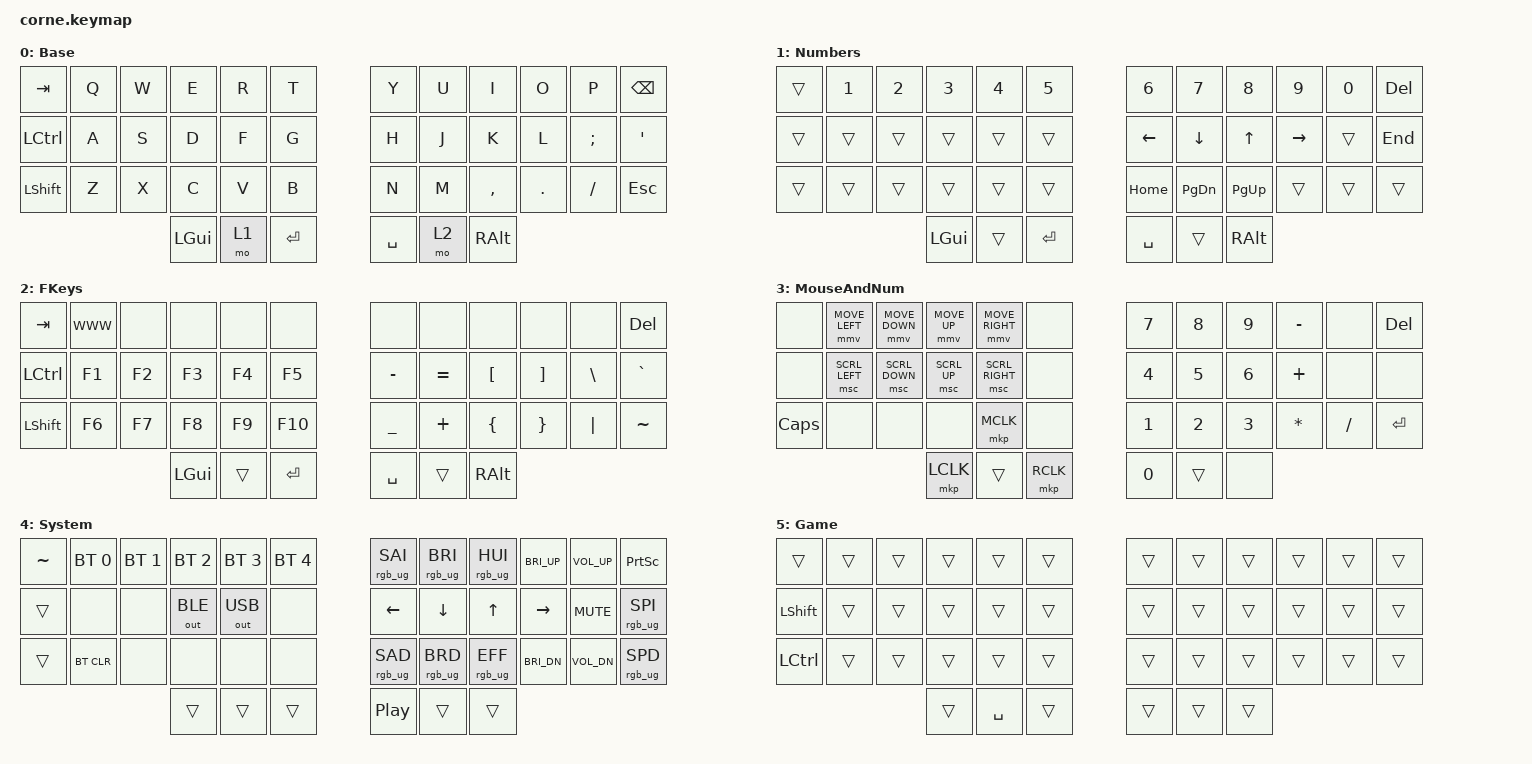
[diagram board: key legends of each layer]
/*
 * PandaKB Corne V3 MX starter keymap
 * Based on the owner's known-good Corne layout.
 * SPDX-License-Identifier: MIT
 */

#include <behaviors.dtsi>
#include <dt-bindings/zmk/keys.h>
#include <dt-bindings/zmk/bt.h>
#include <dt-bindings/zmk/ext_power.h>
#include <dt-bindings/zmk/rgb.h>
#include <dt-bindings/zmk/pointing.h>
#include <dt-bindings/zmk/outputs.h>

/* PandaKB QMK definition identifies 54 LEDs split 27/27.
 * ZMK chain-length is specified per half on a split keyboard.
 */
&led_strip {
    chain-length = <27>;
};

/ {
    // ВАЖНО: Эта строка связывает led_strip с системой RGB в ZMK
    chosen {
        zmk,underglow = &led_strip;
    };

    conditional_layers {
    compatible = "zmk,conditional-layers";

        adjust_layer {
            if-layers = <1 2>;
            then-layer = <3>;
        };
    };

    combos {
        compatible = "zmk,combos";

        L_Paren {
            timeout-ms = <50>;
            key-positions = <4 5>;
            layers = <0>;
            bindings = <&kp LPAR>;
        };

        R_Paren {
            timeout-ms = <50>;
            key-positions = <6 7>;
            layers = <0>;
            bindings = <&kp RPAR>;
        };

        L_Bracket {
            timeout-ms = <50>;
            key-positions = <16 17>;
            layers = <0>;
            bindings = <&kp LBKT>;
        };

        R_Bracket {
            timeout-ms = <50>;
            key-positions = <18 19>;
            layers = <0>;
            bindings = <&kp RBKT>;
        };

        L_Brace {
            timeout-ms = <50>;
            key-positions = <28 29>;
            layers = <0>;
            bindings = <&kp LBRC>;
        };

        R_Brace {
            timeout-ms = <50>;
            key-positions = <30 31>;
            layers = <0>;
            bindings = <&kp RBRC>;
        };

        Pipe {
            timeout-ms = <50>;
            key-positions = <34 35>;
            layers = <0>;
            bindings = <&kp PIPE>;
        };

        Backslash {
            timeout-ms = <50>;
            key-positions = <33 34>;
            layers = <0>;
            bindings = <&kp BSLH>;
        };

        BT-LED {
            timeout-ms = <50>;
            key-positions = <36 37>;
            layers = <0>;
            bindings = <&mo 4>;
            slow-release;
        };

        Game {
            timeout-ms = <50>;
            key-positions = <40 41>;
            layers = <0 5>;
            bindings = <&tog 5>;
        };
    };

    keymap {
        compatible = "zmk,keymap";

        base {
            // -----------------------------------------------------------------------------------------------------------------
            // |  TAB   |   Q    |   W    |   E    |   R    |   T    |   |   Y    |   U    |   I    |   O    |   P    |  BSPC  |
            // |  CTRL  |   A    |   S    |   D    |   F    |   G    |   |   H    |   J    |   K    |   L    |   ;    |   '    |
            // |  SHFT  |   Z    |   X    |   C    |   V    |   B    |   |   N    |   M    |   ,    |   .    |   /    |  ESC   |
            //                            |  GUI   | NUMBER |  ENT   |   |  SPC   | FKEYS  |  ALT   |
            display-name = "Base";
            bindings = <
   &kp TAB   &kp Q &kp W &kp E &kp R &kp T   &kp Y &kp U &kp I     &kp O   &kp P    &kp BSPC
   &kp LCTRL &kp A &kp S &kp D &kp F &kp G   &kp H &kp J &kp K     &kp L   &kp SEMI &kp SQT
   &kp LSHFT &kp Z &kp X &kp C &kp V &kp B   &kp N &kp M &kp COMMA &kp DOT &kp FSLH &kp ESC
                   &kp LGUI &mo 1 &kp RET      &kp SPACE &mo 2 &kp RALT
            >;
        };

        numbers {
            // -----------------------------------------------------------------------------------------------------------------
            // |        |   1    |   2    |   3    |   4    |   5    |   |   6    |   7    |   8    |   9    |   0    |  DEL   |
            // |        |        |        |        |        |        |   |  LFT   |  DWN   |   UP   |  RGT   |        |  END   |
            // |        |        |        |        |        |        |   |  HOME  |  PGDN  |  PGUP  |        |        |        |
            //                            |  GUI   |        |  ENT   |   |  SPC   |        |  ALT   |
            display-name = "Numbers";
            bindings = <
                &trans  &kp N1  &kp N2   &kp N3  &kp N4   &kp N5  &kp N6    &kp N7     &kp N8     &kp N9     &kp N0  &kp DEL
                &trans  &trans  &trans   &trans  &trans   &trans  &kp LEFT  &kp DOWN   &kp UP     &kp RIGHT  &trans  &kp END
                &trans  &trans  &trans   &trans  &trans   &trans  &kp HOME  &kp PG_DN  &kp PG_UP  &trans     &trans  &trans
                                &kp LGUI &trans  &kp RET  &kp SPACE  &trans  &kp RALT
            >;
        };

        fkeys {
            // -----------------------------------------------------------------------------------------------------------------
            // |  TAB   | K_WWW  |        |        |        |        |   |        |        |        |        |        |  DEL   |
            // |  CTRL  |   F1   |   F2   |   F3   |   F4   |   F5   |   |   -    |   =    |   [    |   ]    |   \    |   `    |
            // |  SHFT  |   F6   |   F7   |   F8   |   F9   |  F10   |   |   _    |   +    |   {    |   }    |   |    |   ~    |
            //                            |  GUI   |        |  ENT   |   |  SPC   |        |  ALT   |
            display-name = "FKeys";
            bindings = <
                &kp TAB    &kp K_WWW  &none     &none   &none    &none      &none      &none      &none     &none     &none     &kp DEL
                &kp LCTRL  &kp F1     &kp F2    &kp F3  &kp F4   &kp F5     &kp MINUS  &kp EQUAL  &kp LBKT  &kp RBKT  &kp BSLH  &kp GRAVE
                &kp LSHFT  &kp F6     &kp F7    &kp F8  &kp F9   &kp F10    &kp UNDER  &kp PLUS   &kp LBRC  &kp RBRC  &kp PIPE  &kp TILDE
                                      &kp LGUI  &trans  &kp RET  &kp SPACE  &trans     &kp RALT
            >;
        };

        mouseandnum {
            // -----------------------------------------------------------------------------------------------------------------
            // |        |  MOUL  |  MOUD  |  MOUU  |  MOUR  |        |   |   7    |   8    |   9    |   -    |        |  DEL   |
            // |        |  SCL   |  SCD   |  SCU   |  SCR   |        |   |   4    |   5    |   6    |   +    |        |        |
            // |  CAPS  |        |        |        |  MCLK  |        |   |   1    |   2    |   3    |   *    |   /    |  ENT   |
            //                            |  LCLK  |        |  RCLK  |   |   0    |        |        |

            display-name = "MouseAndNum";
            bindings = <
                &none     &mmv MOVE_LEFT  &mmv MOVE_DOWN  &mmv MOVE_UP  &mmv MOVE_RIGHT  &none  &kp N7  &kp N8  &kp N9  &kp MINUS  &none  &kp DEL
                &none     &msc SCRL_LEFT  &msc SCRL_DOWN  &msc SCRL_UP  &msc SCRL_RIGHT  &none  &kp N4  &kp N5  &kp N6  &kp PLUS  &none  &none
                &kp CAPS  &none          &none            &none         &mkp MCLK        &none  &kp N1  &kp N2  &kp N3  &kp ASTRK  &kp FSLH  &kp RET
                                         &mkp LCLK        &trans        &mkp RCLK        &kp N0  &trans  &none
            >;
        };

        system {
            // -----------------------------------------------------------------------------------------------------------------
            // |   ~    |  BT0   |  BT1   |  BT2   |  BT3   |  BT4   |   |  SAI   |  BRI   |  HUI   | C_BRI_ |  VOLU  | PSCRN  |
            // |        |        |        |  BLE   |  USB   |        |   |  LFT   |  DWN   |   UP   |  RGT   |  MUTE  | RGB_UG |
            // |        | BTCLR  |        |        |        |        |   |  SAD   |  BRD   |  EFF   | C_BRI_ |  VOLD  | RGB_UG |
            //                            |        |        |        |   |  PLAY  |        |        |
            display-name = "System";
            bindings = <
                &kp TILDE  &bt BT_SEL 0  &bt BT_SEL 1  &bt BT_SEL 2  &bt BT_SEL 3  &bt BT_SEL 4  &rgb_ug RGB_SAI  &rgb_ug RGB_BRI  &rgb_ug RGB_HUI  &kp C_BRI_UP  &kp C_VOL_UP  &kp PSCRN
                &trans  &none  &none  &out OUT_BLE  &out OUT_USB  &none  &kp LEFT  &kp DOWN  &kp UP  &kp RIGHT  &kp C_MUTE  &rgb_ug RGB_SPI
                &trans  &bt BT_CLR  &none  &none  &none  &none  &rgb_ug RGB_SAD  &rgb_ug RGB_BRD  &rgb_ug RGB_EFF  &kp C_BRI_DN  &kp C_VOL_DN  &rgb_ug RGB_SPD
                &trans  &trans  &trans  &kp C_PLAY_PAUSE  &trans  &trans
            >;
        };

        game {
            // -----------------------------------------------------------------------------------------------------------------
            // |        |        |        |        |        |        |   |        |        |        |        |        |        |
            // |  SHFT  |        |        |        |        |        |   |        |        |        |        |        |        |
            // |  CTRL  |        |        |        |        |        |   |        |        |        |        |        |        |
            //                            |        |  SPC   |        |   |        |        |        |
            display-name = "Game";
            bindings = <
                &trans     &trans  &trans  &trans     &trans  &trans  &trans  &trans  &trans  &trans  &trans  &trans
                &kp LSHFT  &trans  &trans  &trans     &trans  &trans  &trans  &trans  &trans  &trans  &trans  &trans
                &kp LCTRL  &trans  &trans  &trans     &trans  &trans  &trans  &trans  &trans  &trans  &trans  &trans
                                   &trans  &kp SPACE  &trans  &trans  &trans  &trans
            >;
        };
    };
};
